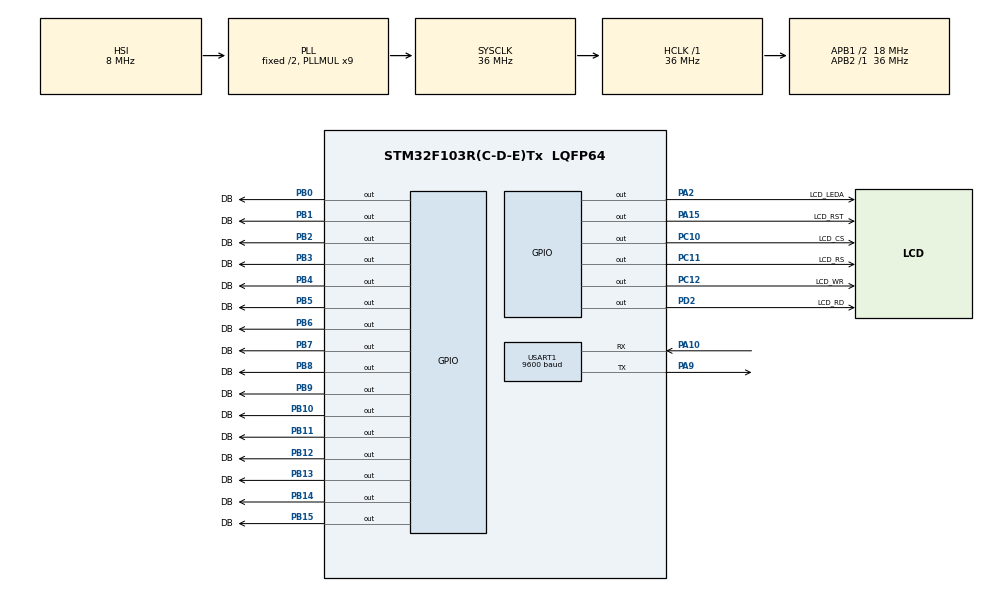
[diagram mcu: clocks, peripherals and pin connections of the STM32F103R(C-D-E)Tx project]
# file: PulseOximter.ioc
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Mcu.Family=STM32F1
Mcu.Name=STM32F103R(C-D-E)Tx
Mcu.Package=LQFP64
NVIC.PriorityGroup=NVIC_PRIORITYGROUP_4
PA10.Mode=Asynchronous
PA10.Signal=USART1_RX
PA13.Mode=Serial_Wire
PA13.Signal=SYS_JTMS-SWDIO
PA14.Mode=Serial_Wire
PA14.Signal=SYS_JTCK-SWCLK
PA15.GPIO_Label=LCD_RST
PA15.GPIO_ModeDefaultOutputPP=GPIO_MODE_OUTPUT_PP
PA15.GPIO_PuPd=GPIO_PULLUP
PA15.GPIO_Speed=GPIO_SPEED_FREQ_HIGH
PA15.PinState=GPIO_PIN_SET
PA15.Signal=GPIO_Output
PA2.GPIO_Label=LCD_LEDA
PA2.GPIO_ModeDefaultOutputPP=GPIO_MODE_OUTPUT_PP
PA2.GPIO_PuPd=GPIO_PULLUP
PA2.GPIO_Speed=GPIO_SPEED_FREQ_HIGH
PA2.PinState=GPIO_PIN_SET
PA2.Signal=GPIO_Output
PA9.Mode=Asynchronous
PA9.Signal=USART1_TX
PB0.GPIO_Label=DB
PB0.GPIO_ModeDefaultOutputPP=GPIO_MODE_OUTPUT_PP
PB0.GPIO_PuPd=GPIO_PULLUP
PB0.GPIO_Speed=GPIO_SPEED_FREQ_HIGH
PB0.PinState=GPIO_PIN_SET
PB0.Signal=GPIO_Output
PB1.GPIO_Label=DB
PB1.GPIO_ModeDefaultOutputPP=GPIO_MODE_OUTPUT_PP
PB1.GPIO_PuPd=GPIO_PULLUP
PB1.GPIO_Speed=GPIO_SPEED_FREQ_HIGH
PB1.PinState=GPIO_PIN_SET
PB1.Signal=GPIO_Output
PB10.GPIO_Label=DB
PB10.GPIO_ModeDefaultOutputPP=GPIO_MODE_OUTPUT_PP
PB10.GPIO_PuPd=GPIO_PULLUP
PB10.GPIO_Speed=GPIO_SPEED_FREQ_HIGH
PB10.PinState=GPIO_PIN_SET
PB10.Signal=GPIO_Output
PB11.GPIO_Label=DB
PB11.GPIO_ModeDefaultOutputPP=GPIO_MODE_OUTPUT_PP
PB11.GPIO_PuPd=GPIO_PULLUP
PB11.GPIO_Speed=GPIO_SPEED_FREQ_HIGH
PB11.PinState=GPIO_PIN_SET
PB11.Signal=GPIO_Output
PB12.GPIO_Label=DB
PB12.GPIO_ModeDefaultOutputPP=GPIO_MODE_OUTPUT_PP
PB12.GPIO_PuPd=GPIO_PULLUP
PB12.GPIO_Speed=GPIO_SPEED_FREQ_HIGH
PB12.PinState=GPIO_PIN_SET
PB12.Signal=GPIO_Output
PB13.GPIO_Label=DB
PB13.GPIO_ModeDefaultOutputPP=GPIO_MODE_OUTPUT_PP
PB13.GPIO_PuPd=GPIO_PULLUP
PB13.GPIO_Speed=GPIO_SPEED_FREQ_HIGH
PB13.PinState=GPIO_PIN_SET
PB13.Signal=GPIO_Output
PB14.GPIO_Label=DB
PB14.GPIO_ModeDefaultOutputPP=GPIO_MODE_OUTPUT_PP
PB14.GPIO_PuPd=GPIO_PULLUP
PB14.GPIO_Speed=GPIO_SPEED_FREQ_HIGH
PB14.PinState=GPIO_PIN_SET
PB14.Signal=GPIO_Output
PB15.GPIO_Label=DB
PB15.GPIO_ModeDefaultOutputPP=GPIO_MODE_OUTPUT_PP
PB15.GPIO_PuPd=GPIO_PULLUP
PB15.GPIO_Speed=GPIO_SPEED_FREQ_HIGH
PB15.PinState=GPIO_PIN_SET
PB15.Signal=GPIO_Output
PB2.GPIO_Label=DB
PB2.GPIO_ModeDefaultOutputPP=GPIO_MODE_OUTPUT_PP
PB2.GPIO_PuPd=GPIO_PULLUP
PB2.GPIO_Speed=GPIO_SPEED_FREQ_HIGH
PB2.PinState=GPIO_PIN_SET
PB2.Signal=GPIO_Output
PB3.GPIO_Label=DB
PB3.GPIO_ModeDefaultOutputPP=GPIO_MODE_OUTPUT_PP
PB3.GPIO_PuPd=GPIO_PULLUP
PB3.GPIO_Speed=GPIO_SPEED_FREQ_HIGH
PB3.PinState=GPIO_PIN_SET
PB3.Signal=GPIO_Output
PB4.GPIO_Label=DB
PB4.GPIO_ModeDefaultOutputPP=GPIO_MODE_OUTPUT_PP
PB4.GPIO_PuPd=GPIO_PULLUP
PB4.GPIO_Speed=GPIO_SPEED_FREQ_HIGH
PB4.PinState=GPIO_PIN_SET
PB4.Signal=GPIO_Output
PB5.GPIO_Label=DB
PB5.GPIO_ModeDefaultOutputPP=GPIO_MODE_OUTPUT_PP
PB5.GPIO_PuPd=GPIO_PULLUP
PB5.GPIO_Speed=GPIO_SPEED_FREQ_HIGH
PB5.PinState=GPIO_PIN_SET
PB5.Signal=GPIO_Output
PB6.GPIO_Label=DB
PB6.GPIO_ModeDefaultOutputPP=GPIO_MODE_OUTPUT_PP
PB6.GPIO_PuPd=GPIO_PULLUP
PB6.GPIO_Speed=GPIO_SPEED_FREQ_HIGH
PB6.PinState=GPIO_PIN_SET
PB6.Signal=GPIO_Output
PB7.GPIO_Label=DB
PB7.GPIO_ModeDefaultOutputPP=GPIO_MODE_OUTPUT_PP
PB7.GPIO_PuPd=GPIO_PULLUP
PB7.GPIO_Speed=GPIO_SPEED_FREQ_HIGH
PB7.PinState=GPIO_PIN_SET
PB7.Signal=GPIO_Output
PB8.GPIO_Label=DB
PB8.GPIO_ModeDefaultOutputPP=GPIO_MODE_OUTPUT_PP
PB8.GPIO_PuPd=GPIO_PULLUP
PB8.GPIO_Speed=GPIO_SPEED_FREQ_HIGH
PB8.PinState=GPIO_PIN_SET
PB8.Signal=GPIO_Output
PB9.GPIO_Label=DB
PB9.GPIO_ModeDefaultOutputPP=GPIO_MODE_OUTPUT_PP
PB9.GPIO_PuPd=GPIO_PULLUP
PB9.GPIO_Speed=GPIO_SPEED_FREQ_HIGH
PB9.PinState=GPIO_PIN_SET
PB9.Signal=GPIO_Output
PC10.GPIO_Label=LCD_CS
PC10.GPIO_ModeDefaultOutputPP=GPIO_MODE_OUTPUT_PP
PC10.GPIO_PuPd=GPIO_PULLUP
PC10.GPIO_Speed=GPIO_SPEED_FREQ_HIGH
PC10.PinState=GPIO_PIN_SET
PC10.Signal=GPIO_Output
PC11.GPIO_Label=LCD_RS
PC11.GPIO_ModeDefaultOutputPP=GPIO_MODE_OUTPUT_PP
PC11.GPIO_PuPd=GPIO_PULLUP
PC11.GPIO_Speed=GPIO_SPEED_FREQ_HIGH
PC11.PinState=GPIO_PIN_SET
PC11.Signal=GPIO_Output
PC12.GPIO_Label=LCD_WR
PC12.GPIO_ModeDefaultOutputPP=GPIO_MODE_OUTPUT_PP
PC12.GPIO_PuPd=GPIO_PULLUP
PC12.GPIO_Speed=GPIO_SPEED_FREQ_HIGH
PC12.PinState=GPIO_PIN_SET
PC12.Signal=GPIO_Output
PD2.GPIO_Label=LCD_RD
PD2.GPIO_ModeDefaultOutputPP=GPIO_MODE_OUTPUT_PP
PD2.GPIO_PuPd=GPIO_PULLUP
PD2.GPIO_Speed=GPIO_SPEED_FREQ_HIGH
PD2.PinState=GPIO_PIN_SET
PD2.Signal=GPIO_Output
ProjectManager.HeapSize=0x200
ProjectManager.StackSize=0x400
ProjectManager.TargetToolchain=MDK-ARM V5
RCC.AHBFreq_Value=36000000
RCC.APB1CLKDivider=RCC_HCLK_DIV2
RCC.APB1Freq_Value=18000000
RCC.APB1TimFreq_Value=36000000
RCC.APB2Freq_Value=36000000
RCC.APB2TimFreq_Value=36000000
RCC.HCLKFreq_Value=36000000
RCC.PLLMUL=RCC_PLL_MUL9
RCC.SYSCLKFreq_VALUE=36000000
RCC.SYSCLKSource=RCC_SYSCLKSOURCE_PLLCLK
RCC.USBFreq_Value=36000000
USART1.BaudRate=9600
USART1.VirtualMode=VM_ASYNC
board=custom

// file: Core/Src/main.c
/* USER CODE BEGIN Header */
/**
  ******************************************************************************
  * @file           : main.c
  * @brief          : Main program body
  ******************************************************************************
  ** This notice applies to any and all portions of this file
  * that are not between comment pairs USER CODE BEGIN and
  * USER CODE END. Other portions of this file, whether
  * inserted by the user or by software development tools
  * are owned by their respective copyright owners.
  *
  * COPYRIGHT(c) 2019 STMicroelectronics
  *
  * Redistribution and use in source and binary forms, with or without modification,
  * are permitted provided that the following conditions are met:
  *   1. Redistributions of source code must retain the above copyright notice,
  *      this list of conditions and the following disclaimer.
  *   2. Redistributions in binary form must reproduce the above copyright notice,
  *      this list of conditions and the following disclaimer in the documentation
  *      and/or other materials provided with the distribution.
  *   3. Neither the name of STMicroelectronics nor the names of its contributors
  *      may be used to endorse or promote products derived from this software
  *      without specific prior written permission.
  *
  * THIS SOFTWARE IS PROVIDED BY THE COPYRIGHT HOLDERS AND CONTRIBUTORS "AS IS"
  * AND ANY EXPRESS OR IMPLIED WARRANTIES, INCLUDING, BUT NOT LIMITED TO, THE
  * IMPLIED WARRANTIES OF MERCHANTABILITY AND FITNESS FOR A PARTICULAR PURPOSE ARE
  * DISCLAIMED. IN NO EVENT SHALL THE COPYRIGHT HOLDER OR CONTRIBUTORS BE LIABLE
  * FOR ANY DIRECT, INDIRECT, INCIDENTAL, SPECIAL, EXEMPLARY, OR CONSEQUENTIAL
  * DAMAGES (INCLUDING, BUT NOT LIMITED TO, PROCUREMENT OF SUBSTITUTE GOODS OR
  * SERVICES; LOSS OF USE, DATA, OR PROFITS; OR BUSINESS INTERRUPTION) HOWEVER
  * CAUSED AND ON ANY THEORY OF LIABILITY, WHETHER IN CONTRACT, STRICT LIABILITY,
  * OR TORT (INCLUDING NEGLIGENCE OR OTHERWISE) ARISING IN ANY WAY OUT OF THE USE
  * OF THIS SOFTWARE, EVEN IF ADVISED OF THE POSSIBILITY OF SUCH DAMAGE.
  *
  ******************************************************************************
  */
/* USER CODE END Header */

#include "main.h"
#include "usart.h"
#include "gpio.h"

/* USER CODE BEGIN Includes */
#include "MyCommon.h"
#define WHITE         	 0xFFFF
#define BLACK         	 0x0000
#define BLUE         	 0x001F
#define BRED             0XF81F
#define GRED 			 0XFFE0
#define GBLUE			 0X07FF
#define RED           	 0xF800
#define MAGENTA       	 0xF81F
#define GREEN         	 0x07E0
#define CYAN          	 0x7FFF
#define YELLOW        	 0xFFE0
#define BROWN 			 0XBC40 //��ɫ
#define BRRED 			 0XFC07 //�غ�ɫ
#define GRAY  			 0X8430 //��ɫ
//GUI��ɫ

#define DARKBLUE      	 0X01CF	//����ɫ
#define LIGHTBLUE      	 0X7D7C	//ǳ��ɫ
#define GRAYBLUE       	 0X5458 //����ɫ
//������ɫΪPANEL����ɫ

#define LIGHTGREEN     	 0X841F //ǳ��ɫ
//#define LIGHTGRAY        0XEF5B //ǳ��ɫ(PANNEL)
#define LGRAY 			 0XC618 //ǳ��ɫ(PANNEL),���屳��ɫ

#define LGRAYBLUE        0XA651 //ǳ����ɫ(�м����ɫ)
#define LBBLUE           0X2B12 //ǳ����ɫ(ѡ����Ŀ�ķ�ɫ)
/* USER CODE END Includes */

void SystemClock_Config(void);

int main(void)
{

  /* MCU Configuration--------------------------------------------------------*/

  /* Reset of all peripherals, Initializes the Flash interface and the Systick. */
  HAL_Init();

  /* Configure the system clock */
  SystemClock_Config();

  /* Initialize all configured peripherals */
  MX_GPIO_Init();
  MX_USART1_UART_Init();
  /* USER CODE BEGIN 2 */
  C_LCD_ST7789V LCD;
  C_GUI GUI;
  LCD.Init();
//  LCD_Init();
  /* USER CODE END 2 */

  /* Infinite loop */
  /* USER CODE BEGIN WHILE */

//	HAL_Delay(1000);
//  	LCD.SetWindows(0, 0, 320, 240);
//	for (int i=0; i<240*320; i++)
//		LCD.Write_Para(C_LCD_ST7789V::DATA, 0x1F);
//
//	HAL_Delay(1000);
//  	LCD.SetWindows(0, 0, 320, 240);
//	for (int i=0; i<240*320; i++)
//		LCD.Write_Para(C_LCD_ST7789V::DATA, 0xF800);

  while (1)
  {
    /* USER CODE END WHILE */

    /* USER CODE BEGIN 3 */
GUI.Fill(0, 0, 239, 60, RED);
//HAL_Delay(1000);
//GUI.AllFill(GREEN);
//HAL_Delay(1000);
//GUI.DrawLine(100, 100, 200, 200, WHITE);
//HAL_Delay(1000);

//printf("OK\r\n");
//LCD_RST_H();
//LCD_CS_H();
//LCD_RS_H();
//LCD_RW_H();
//LCD_RD_H();
//GPIOB->ODR = 0xFFFF;
//		HAL_GPIO_WritePin(GPIOA, GPIO_PIN_2, GPIO_PIN_SET);
//HAL_Delay(500);
//
//LCD_RST_L();
//LCD_CS_L();
//LCD_RS_L();
//LCD_RW_L();
//LCD_RD_L();
//GPIOB->ODR = 0;
//		HAL_GPIO_WritePin(GPIOA, GPIO_PIN_2, GPIO_PIN_RESET);
//HAL_Delay(500);

  }
  /* USER CODE END 3 */
}

void SystemClock_Config(void)
{
  RCC_OscInitTypeDef RCC_OscInitStruct = {0};
  RCC_ClkInitTypeDef RCC_ClkInitStruct = {0};

  /**Initializes the CPU, AHB and APB busses clocks
  */
  RCC_OscInitStruct.OscillatorType = RCC_OSCILLATORTYPE_HSI;
  RCC_OscInitStruct.HSIState = RCC_HSI_ON;
  RCC_OscInitStruct.HSICalibrationValue = RCC_HSICALIBRATION_DEFAULT;
  RCC_OscInitStruct.PLL.PLLState = RCC_PLL_ON;
  RCC_OscInitStruct.PLL.PLLSource = RCC_PLLSOURCE_HSI_DIV2;
  RCC_OscInitStruct.PLL.PLLMUL = RCC_PLL_MUL9;
  if (HAL_RCC_OscConfig(&RCC_OscInitStruct) != HAL_OK)
  {
    Error_Handler();
  }
  /**Initializes the CPU, AHB and APB busses clocks
  */
  RCC_ClkInitStruct.ClockType = RCC_CLOCKTYPE_HCLK|RCC_CLOCKTYPE_SYSCLK
                              |RCC_CLOCKTYPE_PCLK1|RCC_CLOCKTYPE_PCLK2;
  RCC_ClkInitStruct.SYSCLKSource = RCC_SYSCLKSOURCE_PLLCLK;
  RCC_ClkInitStruct.AHBCLKDivider = RCC_SYSCLK_DIV1;
  RCC_ClkInitStruct.APB1CLKDivider = RCC_HCLK_DIV2;
  RCC_ClkInitStruct.APB2CLKDivider = RCC_HCLK_DIV1;

  if (HAL_RCC_ClockConfig(&RCC_ClkInitStruct, FLASH_LATENCY_1) != HAL_OK)
  {
    Error_Handler();
  }
}

void Error_Handler(void)
{
}

/************************ (C) COPYRIGHT STMicroelectronics *****END OF FILE****/
